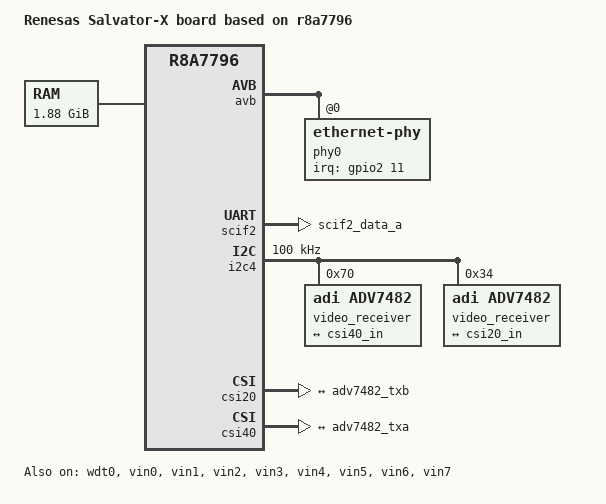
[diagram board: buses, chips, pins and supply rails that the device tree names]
/*
 * Device Tree Source for the Salvator-X board
 *
 * Copyright (C) 2016 Renesas Electronics Corp.
 *
 * This file is licensed under the terms of the GNU General Public License
 * version 2.  This program is licensed "as is" without any warranty of any
 * kind, whether express or implied.
 */

/dts-v1/;
#include "r8a7796.dtsi"

/ {
	model = "Renesas Salvator-X board based on r8a7796";
	compatible = "renesas,salvator-x", "renesas,r8a7796";

	aliases {
		serial0 = &scif2;
		ethernet0 = &avb;
	};

	chosen {
		bootargs = "ignore_loglevel rw root=/dev/nfs cma=64M ip=dhcp";
		stdout-path = "serial0:115200n8";
	};

	memory@48000000 {
		device_type = "memory";
		/* first 128MB is reserved for secure area. */
		reg = <0x0 0x48000000 0x0 0x78000000>;
	};
};

&pfc {
	pinctrl-0 = <&scif_clk_pins>;
	pinctrl-names = "default";

	scif2_pins: scif2 {
		groups = "scif2_data_a";
		function = "scif2";
	};
	scif_clk_pins: scif_clk {
		groups = "scif_clk_a";
		function = "scif_clk";
	};
};

&avb {
	renesas,no-ether-link;
	phy-handle = <&phy0>;
	status = "okay";

	phy0: ethernet-phy@0 {
		rxc-skew-ps = <900>;
		rxdv-skew-ps = <0>;
		rxd0-skew-ps = <0>;
		rxd1-skew-ps = <0>;
		rxd2-skew-ps = <0>;
		rxd3-skew-ps = <0>;
		txc-skew-ps = <900>;
		txen-skew-ps = <0>;
		txd0-skew-ps = <0>;
		txd1-skew-ps = <0>;
		txd2-skew-ps = <0>;
		txd3-skew-ps = <0>;
		reg = <0>;
		interrupt-parent = <&gpio2>;
		interrupts = <11 IRQ_TYPE_LEVEL_LOW>;
	};
};

&extal_clk {
	clock-frequency = <16666666>;
};

&scif2 {
	pinctrl-0 = <&scif2_pins>;
	pinctrl-names = "default";
	status = "okay";
};

&scif_clk {
	clock-frequency = <14745600>;
	status = "okay";
};

&wdt0 {
	timeout-sec = <60>;
	status = "okay";
};

&i2c4 {
	status = "okay";

	clock-frequency = <100000>;

	video_receiver@70 {
		compatible = "adi,adv7482";
		reg = <0x70>;

		#address-cells = <1>;
		#size-cells = <0>;

		port@10 {
			reg = <10>;
			adv7482_txa: endpoint@1 {
				clock-lanes = <0>;
				data-lanes = <1 2 3 4>;
				remote-endpoint = <&csi40_in>;
			};
		};
	};

	/*
	   This is a HACK and is in reality the same dev as 0x70
	   But due to V4L2 limitations we need it to be two subdevices
	   to test VIN + CSI2. There will be two instances of the
	   ADV7482 driver controlling the same chip, but *most* parts
	   are independent of the other and i2c is used in a bad way
	   so it sort of works to test.
	*/
	video_receiver@34 {
		compatible = "adi,adv7482";
		reg = <0x34>;

		#address-cells = <1>;
		#size-cells = <0>;

		port@11 {
			reg = <11>;
			adv7482_txb: endpoint@1 {
				clock-lanes = <0>;
				data-lanes = <1>;
				remote-endpoint = <&csi20_in>;
			};
		};
	};
};

&vin0 {
	status = "okay";
};

&vin1 {
	status = "okay";
};

&vin2 {
	status = "okay";
};

&vin3 {
	status = "okay";
};

&vin4 {
	status = "okay";
};

&vin5 {
	status = "okay";
};

&vin6 {
	status = "okay";
};

&vin7 {
	status = "okay";
};

&csi20 {
	status = "okay";

	ports {
		#address-cells = <1>;
		#size-cells = <0>;

		port@0 {
			reg = <0>;
			csi20_in: endpoint@0 {
				clock-lanes = <0>;
				data-lanes = <1>;
				remote-endpoint = <&adv7482_txb>;
			};
		};
	};
};

&csi40 {
	status = "okay";

	ports {
		#address-cells = <1>;
		#size-cells = <0>;

		port@0 {
			reg = <0>;

			csi40_in: endpoint@0 {
				clock-lanes = <0>;
				data-lanes = <1 2 3 4>;
				remote-endpoint = <&adv7482_txa>;
			};
		};
	};
};
